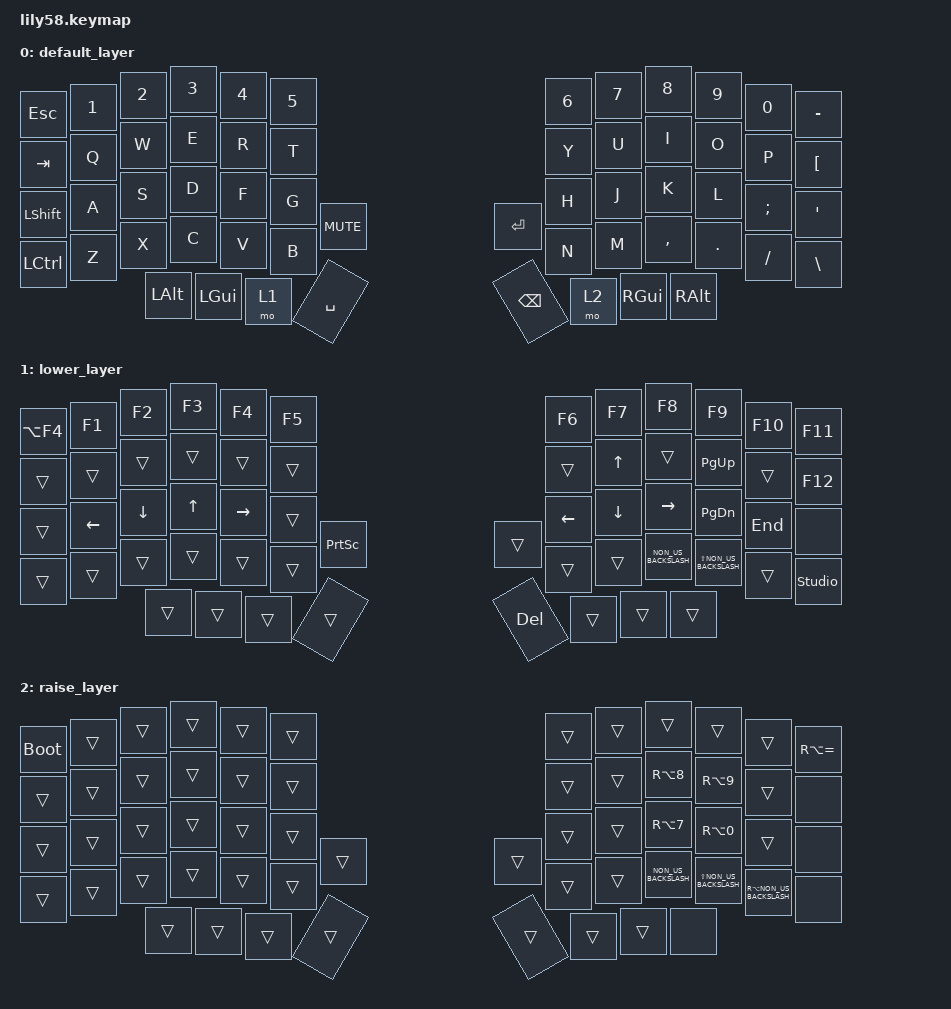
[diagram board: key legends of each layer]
/*
 * Copyright (c) 2020 The ZMK Contributors
 *
 * SPDX-License-Identifier: MIT
 */

#include <behaviors.dtsi>
#include <dt-bindings/zmk/keys.h>
#include <dt-bindings/zmk/bt.h>
#include <dt-bindings/zmk/ext_power.h>
#include <dt-bindings/zmk/outputs.h>

// --- Danish layout aliases (ZMK) ---
// base
#define DK_HALF GRAVE        // ½
#define DK_PLUS MINUS        // +
#define DK_ACUT EQUAL        // ´ (dead)
#define DK_ARNG LBKT         // Å
#define DK_DIAE RBKT         // ¨ (dead)
#define DK_AE   SEMI         // Æ
#define DK_OSTR SQT          // Ø
#define DK_QUOT NON_US_HASH  // ' (ISO key, QMK KC_NUHS)
#define DK_LABK NON_US_BACKSLASH // < (ISO key, QMK KC_NUBS)
#define DK_COMM COMMA        // ,
#define DK_DOT  DOT          // .
#define DK_MINS FSLH         // -  (on DK layout this lives on the / scancode)

// shifted (LS = Left Shift; works the same with RS)
#define DK_SECT LS(GRAVE)    // §
#define DK_EXLM LS(N1)       // !
#define DK_DQUO LS(N2)       // "
#define DK_HASH LS(N3)       // #
#define DK_CURR LS(N4)       // ¤
#define DK_PERC LS(N5)       // %
#define DK_AMPR LS(N6)       // &
#define DK_SLSH LS(N7)       // /
#define DK_LPRN LS(N8)       // (
#define DK_RPRN LS(N9)       // )
#define DK_EQL  LS(N0)       // =
#define DK_QUES LS(MINUS)    // ?
#define DK_GRV  LS(EQUAL)    // ` (dead)
#define DK_CIRC LS(RBKT)     // ^ (dead)
#define DK_ASTR LS(NON_US_HASH)     // *
#define DK_RABK LS(NON_US_BACKSLASH) // >
#define DK_SCLN LS(COMMA)    // ;
#define DK_COLN LS(DOT)      // :
#define DK_UNDS LS(FSLH)     // _

// AltGr (RA = Right Alt)
#define DK_AT   RA(N2)                 // @
#define DK_PND  RA(N3)                 // £
#define DK_DLR  RA(N4)                 // $
#define DK_EURO RA(N5)                 // €
#define DK_LCBR RA(N7)                 // {
#define DK_LBRC RA(N8)                 // [
#define DK_RBRC RA(N9)                 // ]
#define DK_RCBR RA(N0)                 // }
#define DK_PIPE RA(EQUAL)              // |
#define DK_TILD RA(RBKT)               // ~ (dead)
#define DK_BSLS RA(NON_US_BACKSLASH)   // backslash
#define DK_MICR RA(M)                  // µ


/ {
    keymap {
        compatible = "zmk,keymap";

        default_layer {
// ---------------------------------------------------------------------------------------------------------------------------------------------------------------------------------
// | ESC     | 1          | 2          | 3          | 4          | 5          |                         | 6          | 7          | 8          | 9          | 0          | -       |
// | `       | Q          | W          | E          | R          | T          |                         | Y          | U          | I          | O          | P          | Å       |
// | TAB     | A          | S          | D          | F          | G          |                         | H          | J          | K          | L          | Æ          | Ø       |
// | CTRL    | Z          | X          | C          | V          | B          | MUTE       | Enter      | N          | M          | ,          | .          | -          | '       |
//                                     | SHIFT      | GUI        | ALT        | SPACE      | BackSp     | L2         | RGUI       | SHIFT      |
            bindings = <
&kp ESC      &kp N1       &kp N2       &kp N3       &kp N4       &kp N5                                     &kp N6       &kp N7       &kp N8       &kp N9       &kp N0       &kp MINUS
&kp TAB      &kp Q        &kp W        &kp E        &kp R        &kp T                                      &kp Y        &kp U        &kp I        &kp O        &kp P        &kp LBKT
&kp LSHFT    &kp A        &kp S        &kp D        &kp F        &kp G                                      &kp H        &kp J        &kp K        &kp L        &kp SEMI     &kp SQT
&kp LCTRL    &kp Z        &kp X        &kp C        &kp V        &kp B        &kp C_MUTE       &kp RET      &kp N        &kp M        &kp COMMA    &kp DOT      &kp FSLH     &kp BSLH
                                       &kp LALT     &kp LGUI     &mo 1        &kp SPACE        &kp BSPC     &mo 2        &kp RGUI     &kp RALT
            >;

        };

        lower_layer {
// ---------------------------------------------------------------------------------------------------------------------------------------------------------------------------------
// |  AltF4  | F1         | F2         | F3         | F4         | F5         | F6                                   | F7         | F8         | F9         | F10        | F11     | 
// |         |            |     ^      |            |            |            |                         |            |    ArUp    |            | PG_UP      |            | F12     | 
// |         |     <-     |     v      |    ^       |  ->        |            |                         |     <      |   ArDown   |      >     | PG_DN      | END        |         |
// |         |            |            |            |            |            | PSCRN      |            | INS        |            |            |            |            |         |
//                                     |            | RAISE      |            |            |            | DEL        | LOWER      |            |
            bindings = <
&kp LA(F4)   &kp F1       &kp F2       &kp F3       &kp F4       &kp F5                                 &kp F6       &kp F7       &kp F8                 &kp F9                    &kp F10      &kp F11      
&trans       &trans       &trans       &trans       &trans       &trans                                 &trans       &kp UP       &trans                 &kp PG_UP                 &trans       &kp F12 
&trans       &kp LEFT     &kp DOWN     &kp UP       &kp RIGHT    &trans                                 &kp LEFT     &kp DOWN     &kp RIGHT              &kp PG_DN                 &kp END      &none 
&trans       &trans       &trans       &trans       &trans       &trans       &kp PSCRN    &trans       &trans       &trans       &kp NON_US_BACKSLASH   &kp LS(NON_US_BACKSLASH)  &trans       &studio_unlock 
                                       &trans       &trans       &trans       &trans       &kp DEL      &trans       &trans       &trans 

            >;
        };

        raise_layer {
// ---------------------------------------------------------------------------------------------------------------------------------------------------------------------------------
// |         |            |            |            |            |            |                         |            |            |            |            |            |   "|"   |
// |         |            |            |            |            |            |                         |            |            |            |            |            |         |
// |         |            |            |            |            |            |                         |            |            |            |            |            |         |
// |         |            |            |            |            |            |            |            |            |            |     <      |     >      |     \      |         |
//                                     |            | RAISE      |            |            |            |            | LOWER      |            |  
            bindings = <
&bootloader  &trans       &trans       &trans       &trans       &trans                                 &trans       &trans       &trans                 &trans                         &trans                         &kp RA(EQUAL) 
&trans       &trans       &trans       &trans       &trans       &trans                                 &trans       &trans       &kp RA(N8)             &kp RA(N9)                     &trans                         &none 
&trans       &trans       &trans       &trans       &trans       &trans                                 &trans       &trans       &kp RA(N7)             &kp RA(N0)                     &trans                         &none 
&trans       &trans       &trans       &trans       &trans       &trans       &trans       &trans       &trans       &trans       &kp NON_US_BACKSLASH   &kp LS(NON_US_BACKSLASH)       &kp RA(NON_US_BACKSLASH)       &none 
                                       &trans       &trans       &trans       &trans       &trans       &trans       &trans       &none

            >;
        };
    };
};
